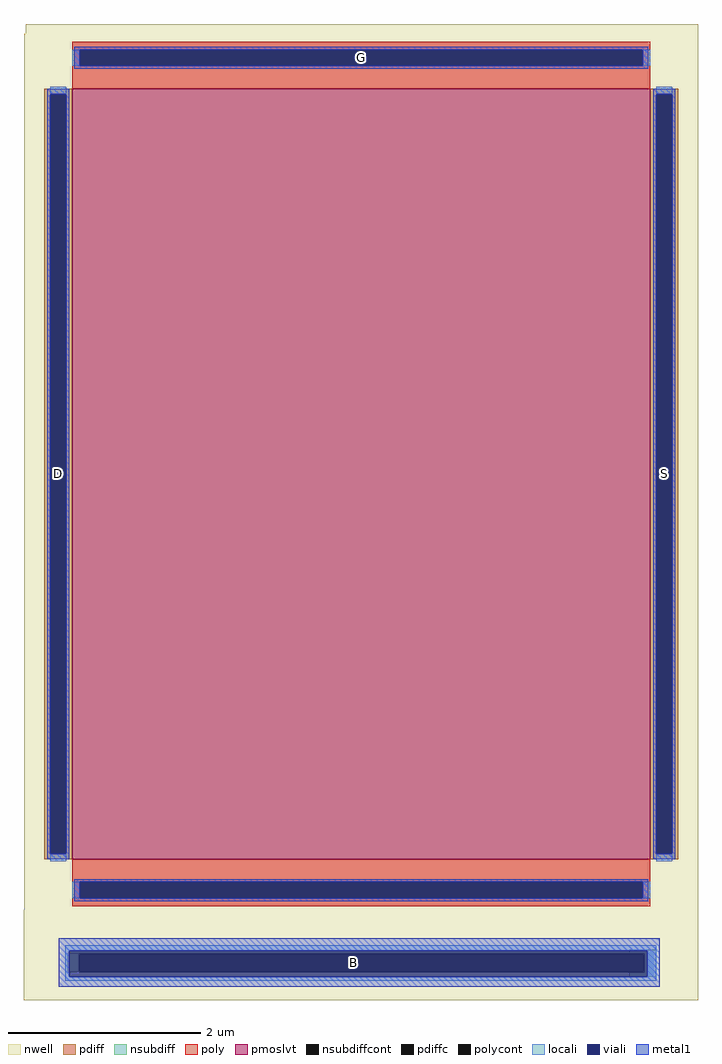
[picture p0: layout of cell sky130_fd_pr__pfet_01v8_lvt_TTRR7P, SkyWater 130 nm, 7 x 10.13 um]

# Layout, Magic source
magic
tech sky130A
magscale 1 2
<< nwell >>
rect -696 914 700 934
rect -700 -905 700 914
rect -701 -1092 700 -905
<< pmoslvt >>
rect -600 -800 600 800
<< pdiff >>
rect -658 788 -600 800
rect -658 -788 -646 788
rect -612 -788 -600 788
rect -658 -800 -600 -788
rect 600 788 658 800
rect 600 -788 612 788
rect 646 -788 658 788
rect 600 -800 658 -788
<< pdiffc >>
rect -646 -788 -612 788
rect 612 -788 646 788
<< nsubdiff >>
rect 556 -994 612 -988
rect -610 -996 612 -994
rect -610 -1034 -585 -996
rect 587 -1034 612 -996
rect 556 -1044 612 -1034
<< nsubdiffcont >>
rect -585 -1034 587 -996
<< poly >>
rect -600 881 600 897
rect -600 847 -584 881
rect 584 847 600 881
rect -600 800 600 847
rect -600 -847 600 -800
rect -600 -881 -584 -847
rect 584 -881 600 -847
rect -600 -897 600 -881
<< polycont >>
rect -584 847 584 881
rect -584 -881 584 -847
<< locali >>
rect -600 847 -584 881
rect 584 847 600 881
rect -646 788 -612 804
rect -646 -804 -612 -788
rect 612 788 646 804
rect 612 -804 646 -788
rect -600 -881 -584 -847
rect 584 -881 600 -847
rect -614 -990 612 -978
rect -614 -1044 -606 -990
rect 594 -1044 612 -990
rect -614 -1052 612 -1044
<< viali >>
rect -584 847 584 881
rect -646 -788 -612 788
rect 612 -788 646 788
rect -584 -881 584 -847
rect -606 -996 594 -990
rect -606 -1034 -585 -996
rect -585 -1034 587 -996
rect 587 -1034 594 -996
rect -606 -1044 594 -1034
<< metal1 >>
rect -596 881 596 887
rect -596 847 -584 881
rect 584 847 596 881
rect -596 841 596 847
rect -652 788 -606 800
rect -652 -788 -646 788
rect -612 -788 -606 788
rect -652 -800 -606 -788
rect 606 788 652 800
rect 606 -788 612 788
rect 646 -788 652 788
rect 606 -800 652 -788
rect -596 -847 596 -841
rect -596 -881 -584 -847
rect 584 -881 596 -847
rect -596 -887 596 -881
rect -628 -990 620 -964
rect -628 -1044 -606 -990
rect 594 -1044 620 -990
rect -628 -1064 620 -1044
<< labels >>
rlabel pdiffc -629 0 -629 0 0 D
port 18 nsew
rlabel pdiffc 629 0 629 0 0 S
port 19 nsew
rlabel polycont 0 864 0 864 0 G
port 20 nsew
flabel viali -16 -1014 -16 -1014 0 FreeSans 320 0 0 0 B
port 4 nsew
<< properties >>
string FIXED_BBOX -743 -966 743 966
string gencell sky130_fd_pr__pfet_01v8_lvt
string library sky130
string parameters w 8.0 l 6.0 m 1 nf 1 diffcov 100 polycov 100 guard 1 glc 1 grc 1 gtc 1 gbc 1 tbcov 100 rlcov 100 topc 1 botc 1 poverlap 0 doverlap 1 lmin 0.35 wmin 0.42 class mosfet compatible {sky130_fd_pr__pfet_01v8  sky130_fd_pr__pfet_01v8_lvt sky130_fd_pr__pfet_01v8_hvt  sky130_fd_pr__pfet_g5v0d10v5} full_metal 1 conn_gates 0 viasrc 100 viadrn 100 viagate 100 viagb 0 viagr 0 viagl 0 viagt 0 doports 1 ad 2.32 as 2.32 pd 16.58 ps 16.58 nrd 0.03625 nrs 0.03625 sa 0 sb 0 sd 0 mult 1
<< end >>
